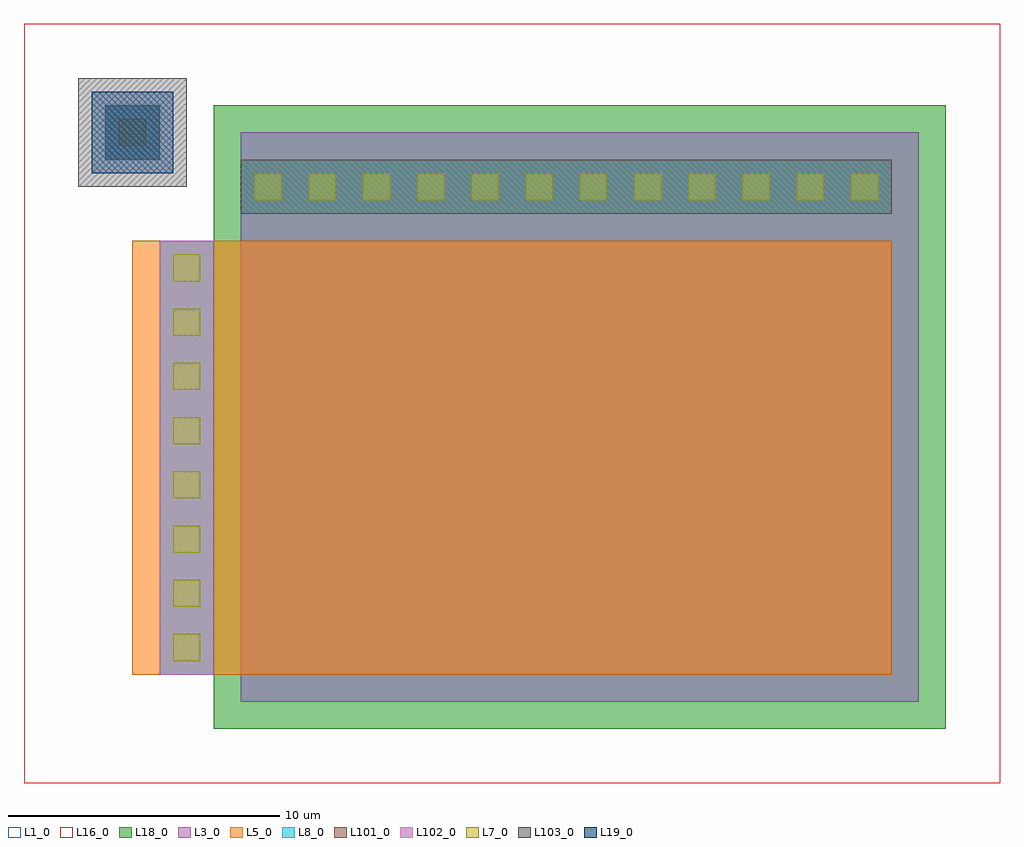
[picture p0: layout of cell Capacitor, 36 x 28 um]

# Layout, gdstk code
import gdstk
lib = gdstk.Library(unit=1e-6, precision=1e-09)
def R(c, l, rs):  # rectangles x0, y0, x1, y1
    for r in rs: c.add(gdstk.rectangle(r[:2], r[2:], *l))
L1_0 = (1, 0)
L3_0 = (3, 0)
L5_0 = (5, 0)
L7_0 = (7, 0)
L8_0 = (8, 0)
L16_0 = (16, 0)
L18_0 = (18, 0)
L19_0 = (19, 0)
L101_0 = (101, 0)
L102_0 = (102, 0)
L103_0 = (103, 0)

pcont = lib.new_cell('pcont')
R(pcont, L5_0, [(-1,-1,1,1)])
R(pcont, L7_0, [(-0.5,-0.5,0.5,0.5)])
R(pcont, L8_0, [(-1,-1,1,1)])
R(pcont, L102_0, [(-1,-1,1,1)])
pcont.add(gdstk.Label('pcont', (0,0), layer=13, texttype=0))

dcont = lib.new_cell('dcont')
R(dcont, L3_0, [(-0.5,-0.5,0.5,0.5)])
R(dcont, L7_0, [(-0.5,-0.5,0.5,0.5)])
R(dcont, L8_0, [(-1,-1,1,1)])
R(dcont, L101_0, [(-1,-1,1,1)])
dcont.add(gdstk.Label('dcont', (0,0), layer=13, texttype=0))

dcont_3 = lib.new_cell('dcont$3')
R(dcont_3, L3_0, [(-0.5,-0.5,0.5,0.5)])
R(dcont_3, L7_0, [(-0.5,-0.5,0.5,0.5)])
R(dcont_3, L8_0, [(-1,-1,1,1)])
R(dcont_3, L101_0, [(-1,-1,1,1)])
dcont_3.add(gdstk.Label('dcont', (0,0), layer=13, texttype=0))

nsubcont = lib.new_cell('nsubcont')
R(nsubcont, L1_0, [(-2,-2,2,2)])
R(nsubcont, L19_0, [(-1.5,-1.5,1.5,1.5)])
R(nsubcont, L103_0, [(-2,-2,2,2)])
nsubcont.add(gdstk.Reference(dcont_3, (0,0)))
nsubcont.add(gdstk.Label('NScont', (0,0), layer=13, texttype=0))

capacitor = lib.new_cell('Capacitor')
R(capacitor, L1_0, [(-4,-4,32,24)])
R(capacitor, L3_0, [(4,-1,29,20)])
R(capacitor, L5_0, [(0,0,28,16)])
R(capacitor, L16_0, [(-4,-4,32,24)])
R(capacitor, L18_0, [(3,-2,30,21)])
capacitor.add(gdstk.Reference(pcont, (2,1)))
capacitor.add(gdstk.Reference(pcont, (2,3)))
capacitor.add(gdstk.Reference(pcont, (2,5)))
capacitor.add(gdstk.Reference(pcont, (2,7)))
capacitor.add(gdstk.Reference(pcont, (2,9)))
capacitor.add(gdstk.Reference(pcont, (2,11)))
capacitor.add(gdstk.Reference(pcont, (2,13)))
capacitor.add(gdstk.Reference(pcont, (2,15)))
capacitor.add(gdstk.Reference(dcont, (5,18)))
capacitor.add(gdstk.Reference(dcont, (7,18)))
capacitor.add(gdstk.Reference(dcont, (9,18)))
capacitor.add(gdstk.Reference(dcont, (11,18)))
capacitor.add(gdstk.Reference(dcont, (13,18)))
capacitor.add(gdstk.Reference(dcont, (15,18)))
capacitor.add(gdstk.Reference(dcont, (17,18)))
capacitor.add(gdstk.Reference(dcont, (19,18)))
capacitor.add(gdstk.Reference(dcont, (21,18)))
capacitor.add(gdstk.Reference(dcont, (23,18)))
capacitor.add(gdstk.Reference(dcont, (25,18)))
capacitor.add(gdstk.Reference(dcont, (27,18)))
capacitor.add(gdstk.Reference(nsubcont, (0,20)))

lib.write_gds('Capacitor.gds')
